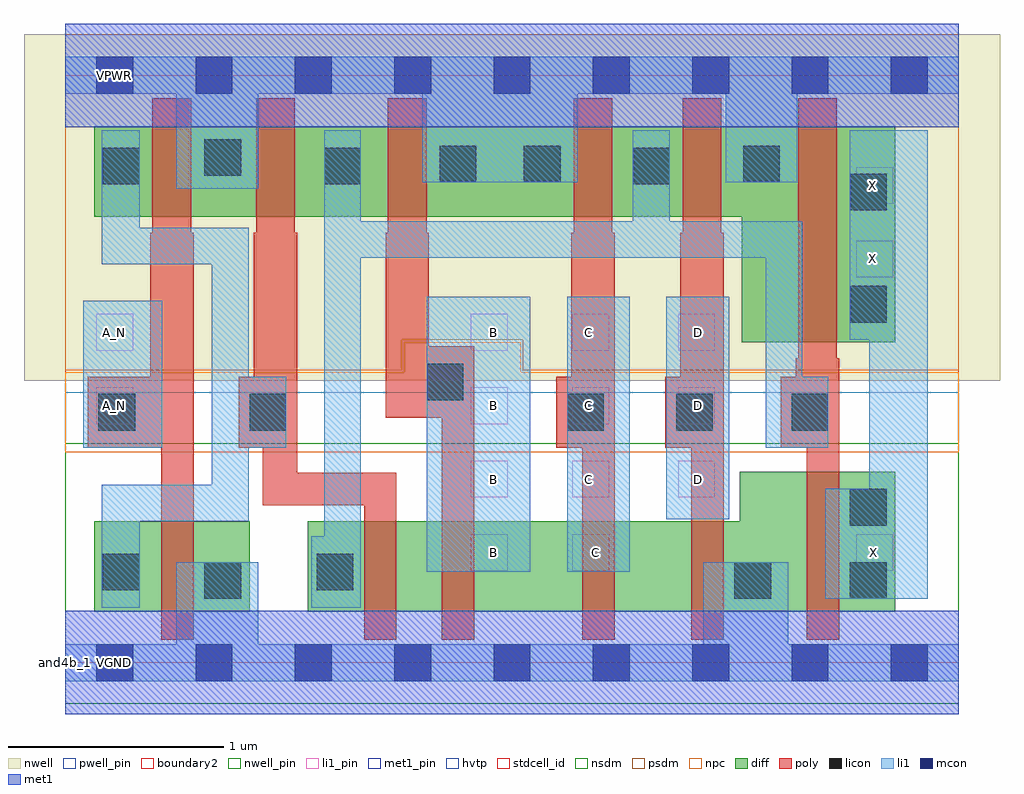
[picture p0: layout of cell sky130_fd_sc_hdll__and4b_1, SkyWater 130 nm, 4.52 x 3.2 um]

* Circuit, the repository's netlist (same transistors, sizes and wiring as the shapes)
* Copyright 2020 The SkyWater PDK Authors
*
* Licensed under the Apache License, Version 2.0 (the "License");
* you may not use this file except in compliance with the License.
* You may obtain a copy of the License at
*
*     https://www.apache.org/licenses/LICENSE-2.0
*
* Unless required by applicable law or agreed to in writing, software
* distributed under the License is distributed on an "AS IS" BASIS,
* WITHOUT WARRANTIES OR CONDITIONS OF ANY KIND, either express or implied.
* See the License for the specific language governing permissions and
* limitations under the License.
*
* SPDX-License-Identifier: Apache-2.0

.SUBCKT sky130_fd_sc_hdll__and4b_1 A_N B C D VGND VNB VPB VPWR X
*.PININFO A_N:I B:I C:I D:I VGND:I VNB:I VPB:I VPWR:I X:O
MMP0 y A VPWR VPB sky130_fd_pr__pfet_01v8_hvt m=1 w=0.42U l=0.18U mult=1 sa=0.265
+ sb=0.265 sd=0.28 area=0.063 perim=1.14
MMP1 y B VPWR VPB sky130_fd_pr__pfet_01v8_hvt m=1 w=0.42U l=0.18U mult=1 sa=0.265
+ sb=0.265 sd=0.28 area=0.063 perim=1.14
MMP2 y C VPWR VPB sky130_fd_pr__pfet_01v8_hvt m=1 w=0.42U l=0.18U mult=1 sa=0.265
+ sb=0.265 sd=0.28 area=0.063 perim=1.14
MMP3 y D VPWR VPB sky130_fd_pr__pfet_01v8_hvt m=1 w=0.42U l=0.18U mult=1 sa=0.265
+ sb=0.265 sd=0.28 area=0.063 perim=1.14
MMIP0 A A_N VPWR VPB sky130_fd_pr__pfet_01v8_hvt m=1 w=0.42U l=0.18U mult=1 sa=0.265
+ sb=0.265 sd=0.28 area=0.063 perim=1.14
MMIP1 X y VPWR VPB sky130_fd_pr__pfet_01v8_hvt m=1 w=1.0U l=0.18U mult=1 sa=0.265
+ sb=0.265 sd=0.28 area=0.063 perim=1.14
MMN0 y A sndA VNB sky130_fd_pr__nfet_01v8 m=1 w=0.42U l=0.15U mult=1 sa=0.265 sb=0.265
+ sd=0.28 area=0.063 perim=1.14
MMN1 sndA B sndB VNB sky130_fd_pr__nfet_01v8 m=1 w=0.42U l=0.15U mult=1 sa=0.265
+ sb=0.265 sd=0.28 area=0.063 perim=1.14
MMN2 sndB C sndC VNB sky130_fd_pr__nfet_01v8 m=1 w=0.42U l=0.15U mult=1 sa=0.265
+ sb=0.265 sd=0.28 area=0.063 perim=1.14
MMN3 sndC D VGND VNB sky130_fd_pr__nfet_01v8 m=1 w=0.42U l=0.15U mult=1 sa=0.265
+ sb=0.265 sd=0.28 area=0.063 perim=1.14
MMIN0 A A_N VGND VNB sky130_fd_pr__nfet_01v8 m=1 w=0.42U l=0.15U mult=1 sa=0.265
+ sb=0.265 sd=0.28 area=0.063 perim=1.14
MMIN1 X y VGND VNB sky130_fd_pr__nfet_01v8 m=1 w=0.65U l=0.15U mult=1 sa=0.265
+ sb=0.265 sd=0.28 area=0.063 perim=1.14
.ENDS sky130_fd_sc_hdll__and4b_1

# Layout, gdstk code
import gdstk
lib = gdstk.Library(unit=1e-6, precision=1e-09)
def R(c, l, rs):  # rectangles x0, y0, x1, y1
    for r in rs: c.add(gdstk.rectangle(r[:2], r[2:], *l))
def A(c, l, x, y, w, h, nx, ny, dx, dy):  # array of equal rectangles
    R(c, l, [(x+i*dx, y+j*dy, x+i*dx+w, y+j*dy+h) for i in range(nx) for j in range(ny)])
def P(c, l, *ps):  # polygons
    for p in ps: c.add(gdstk.Polygon(p, *l))
nwell_pin = (64, 16)
nwell = (64, 20)
diff = (65, 20)
poly = (66, 20)
licon = (66, 44)
li1_pin = (67, 16)
li1 = (67, 20)
mcon = (67, 44)
met1_pin = (68, 16)
met1 = (68, 20)
hvtp = (78, 44)
stdcell_id = (81, 4)
nsdm = (93, 44)
psdm = (94, 20)
npc = (95, 20)
pwell_pin = (122, 16)
boundary2 = (236, 0)

sky130_fd_sc_hdll__and4b = lib.new_cell('sky130_fd_sc_hdll__and4b_1')
R(sky130_fd_sc_hdll__and4b, nwell_pin, [(0.145,2.635,0.315,2.805)])
R(sky130_fd_sc_hdll__and4b, nwell, [(-0.19,1.305,4.33,2.91)])
R(sky130_fd_sc_hdll__and4b, diff, [(0.135,0.235,0.855,0.655)])
P(sky130_fd_sc_hdll__and4b, diff, [(3.845,2.485),(0.135,2.485),(0.135,2.065),(3.135,2.065),(3.135,1.485),(3.845,1.485)],
  [(3.845,0.885),(3.125,0.885),(3.125,0.655),(1.125,0.655),(1.125,0.235),(3.845,0.235)])
P(sky130_fd_sc_hdll__and4b, poly, [(0.595,1.99),(0.585,1.99),(0.585,2.615),(0.405,2.615),(0.405,1.99),(0.395,1.99),(0.395,1.325),(0.105,1.325),(0.105,0.995),(0.445,0.995),(0.445,0.105),(0.595,0.105)],
  [(1.535,0.88),(1.075,0.88),(1.075,1.99),(1.065,1.99),(1.065,2.615),(0.885,2.615),(0.885,1.99),(0.875,1.99),(0.875,1.325),(0.805,1.325),(0.805,0.995),(0.915,0.995),(0.915,0.73),(1.385,0.73),(1.385,0.105),(1.535,0.105)],
  [(1.895,1.465),(1.685,1.465),(1.685,1.99),(1.675,1.99),(1.675,2.615),(1.495,2.615),(1.495,1.99),(1.485,1.99),(1.485,1.135),(1.745,1.135),(1.745,0.105),(1.895,0.105)],
  [(2.545,1.99),(2.535,1.99),(2.535,2.615),(2.355,2.615),(2.355,1.99),(2.345,1.99),(2.345,1.325),(2.275,1.325),(2.275,0.995),(2.395,0.995),(2.395,0.105),(2.545,0.105)],
  [(3.05,1.99),(3.04,1.99),(3.04,2.615),(2.86,2.615),(2.86,1.99),(2.85,1.99),(2.85,1.325),(2.78,1.325),(2.78,0.995),(2.9,0.995),(2.9,0.105),(3.05,0.105)],
  [(3.585,1.41),(3.575,1.41),(3.575,2.615),(3.395,2.615),(3.395,1.41),(3.385,1.41),(3.385,1.325),(3.315,1.325),(3.315,0.995),(3.435,0.995),(3.435,0.105),(3.585,0.105)])
R(sky130_fd_sc_hdll__and4b, licon, [(0.645,0.295,0.815,0.465), (3.1,0.295,3.27,0.465), (3.635,0.295,3.805,0.465), (0.175,0.335,0.345,0.505), (1.165,0.335,1.335,0.505), (3.635,0.635,3.805,0.805), (0.155,1.075,0.325,1.245), (0.855,1.075,1.025,1.245), (2.325,1.075,2.495,1.245), (2.83,1.075,3,1.245), (3.365,1.075,3.535,1.245), (1.675,1.215,1.845,1.385), (3.635,1.575,3.805,1.745), (3.635,2.095,3.805,2.265), (0.175,2.215,0.345,2.385), (1.2,2.215,1.37,2.385), (2.63,2.215,2.8,2.385), (1.735,2.225,1.905,2.395), (2.125,2.225,2.295,2.395), (3.14,2.225,3.31,2.395), (0.645,2.255,0.815,2.425)])
A(sky130_fd_sc_hdll__and4b, li1_pin, 1.88, 0.425, 0.17, 0.17, 1, 4, 0, 0.34)
A(sky130_fd_sc_hdll__and4b, li1_pin, 2.35, 0.425, 0.17, 0.17, 1, 4, 0, 0.34)
A(sky130_fd_sc_hdll__and4b, li1_pin, 2.84, 0.765, 0.17, 0.17, 1, 3, 0, 0.34)
R(sky130_fd_sc_hdll__and4b, li1_pin, [(3.665,0.425,3.835,0.595), (0.145,1.105,0.315,1.275), (0.145,1.445,0.315,1.615), (3.665,1.785,3.835,1.955), (3.665,2.125,3.835,2.295)])
R(sky130_fd_sc_hdll__and4b, li1, [(1.675,0.42,2.155,1.695), (2.325,0.42,2.615,1.695), (2.785,0.665,3.075,1.695), (0.085,0.995,0.45,1.675)])
P(sky130_fd_sc_hdll__and4b, li1, [(1.025,1.325),(0.85,1.325),(0.85,2.015),(0.345,2.015),(0.345,2.465),(0.17,2.465),(0.17,1.845),(0.68,1.845),(0.68,0.825),(0.17,0.825),(0.17,0.255),(0.345,0.255),(0.345,0.655),(0.85,0.655),(0.85,0.995),(1.025,0.995)],
  [(3.535,1.325),(3.415,1.325),(3.415,2.045),(2.8,2.045),(2.8,2.465),(2.63,2.465),(2.63,2.045),(1.37,2.045),(1.37,2.465),(1.2,2.465),(1.2,0.585),(1.14,0.585),(1.14,0.255),(1.37,0.255),(1.37,1.875),(3.245,1.875),(3.245,0.995),(3.535,0.995)],
  [(3.995,2.465),(3.635,2.465),(3.635,1.495),(3.725,1.495),(3.725,0.805),(3.52,0.805),(3.52,0.295),(3.995,0.295)],
  [(4.14,2.805),(0,2.805),(0,2.635),(0.515,2.635),(0.515,2.195),(0.895,2.195),(0.895,2.635),(1.655,2.635),(1.655,2.225),(2.375,2.225),(2.375,2.635),(3.06,2.635),(3.06,2.225),(3.39,2.225),(3.39,2.635),(4.14,2.635)],
  [(4.14,0.085),(3.35,0.085),(3.35,0.465),(2.955,0.465),(2.955,0.085),(0.895,0.085),(0.895,0.465),(0.515,0.465),(0.515,0.085),(0,0.085),(0,-0.085),(4.14,-0.085)])
A(sky130_fd_sc_hdll__and4b, mcon, 0.145, -0.085, 0.17, 0.17, 9, 2, 0.46, 2.72)
R(sky130_fd_sc_hdll__and4b, met1_pin, [(0.145,-0.085,0.315,0.085), (0.145,2.635,0.315,2.805)])
R(sky130_fd_sc_hdll__and4b, met1, [(0,-0.24,4.14,0.24), (0,2.48,4.14,2.96)])
R(sky130_fd_sc_hdll__and4b, hvtp, [(0,1.25,4.14,2.72)])
R(sky130_fd_sc_hdll__and4b, stdcell_id, [(0,0,4.14,2.72)])
R(sky130_fd_sc_hdll__and4b, nsdm, [(0,-0.19,4.14,1.015)])
P(sky130_fd_sc_hdll__and4b, psdm, [(4.14,2.91),(0,2.91),(0,1.355),(1.56,1.355),(1.56,1.495),(2.12,1.495),(2.12,1.355),(4.14,1.355)])
P(sky130_fd_sc_hdll__and4b, npc, [(4.14,1.345),(2.11,1.345),(2.11,1.485),(1.57,1.485),(1.57,1.345),(0,1.345),(0,0.975),(4.14,0.975)])
R(sky130_fd_sc_hdll__and4b, pwell_pin, [(0.145,-0.085,0.315,0.085)])
R(sky130_fd_sc_hdll__and4b, boundary2, [(0,0,4.14,2.72)])
sky130_fd_sc_hdll__and4b.add(gdstk.Label('VGND', (0.23,0), layer=68, texttype=5))
sky130_fd_sc_hdll__and4b.add(gdstk.Label('VPWR', (0.23,2.72), layer=68, texttype=5))
sky130_fd_sc_hdll__and4b.add(gdstk.Label('C', (2.425,1.53), layer=67, texttype=5))
sky130_fd_sc_hdll__and4b.add(gdstk.Label('A_N', (0.23,1.53), layer=67, texttype=5))
sky130_fd_sc_hdll__and4b.add(gdstk.Label('X', (3.745,0.51), layer=67, texttype=5))
sky130_fd_sc_hdll__and4b.add(gdstk.Label('X', (3.74,1.87), layer=67, texttype=5))
sky130_fd_sc_hdll__and4b.add(gdstk.Label('X', (3.74,2.21), layer=67, texttype=5))
sky130_fd_sc_hdll__and4b.add(gdstk.Label('A_N', (0.23,1.19), layer=67, texttype=5))
sky130_fd_sc_hdll__and4b.add(gdstk.Label('D', (2.935,1.19), layer=67, texttype=5))
sky130_fd_sc_hdll__and4b.add(gdstk.Label('D', (2.935,1.53), layer=67, texttype=5))
sky130_fd_sc_hdll__and4b.add(gdstk.Label('C', (2.455,0.51), layer=67, texttype=5))
sky130_fd_sc_hdll__and4b.add(gdstk.Label('C', (2.425,0.85), layer=67, texttype=5))
sky130_fd_sc_hdll__and4b.add(gdstk.Label('B', (1.985,0.51), layer=67, texttype=5))
sky130_fd_sc_hdll__and4b.add(gdstk.Label('B', (1.985,0.85), layer=67, texttype=5))
sky130_fd_sc_hdll__and4b.add(gdstk.Label('B', (1.985,1.19), layer=67, texttype=5))
sky130_fd_sc_hdll__and4b.add(gdstk.Label('B', (1.985,1.53), layer=67, texttype=5))
sky130_fd_sc_hdll__and4b.add(gdstk.Label('D', (2.935,0.85), layer=67, texttype=5))
sky130_fd_sc_hdll__and4b.add(gdstk.Label('C', (2.425,1.19), layer=67, texttype=5))
sky130_fd_sc_hdll__and4b.add(gdstk.Label('VPB', (0.23,2.72), layer=64, texttype=5))
sky130_fd_sc_hdll__and4b.add(gdstk.Label('VNB', (0.23,0), layer=64, texttype=59))
sky130_fd_sc_hdll__and4b.add(gdstk.Label('and4b_1', (0,0), layer=83, texttype=44))

lib.write_gds('sky130_fd_sc_hdll__and4b_1.gds')
